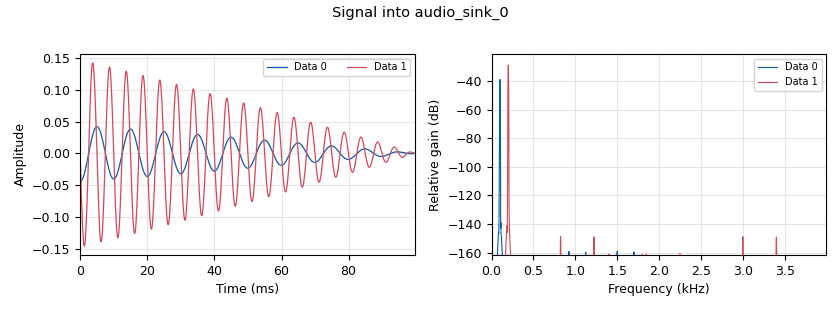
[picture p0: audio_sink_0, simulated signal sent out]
<?xml version='1.0' encoding='utf-8'?>
<flow_graph>
<block>
<key>options</key>
<param><key>id</key><value>top_block</value></param>
<param><key>generate_options</key><value>wx_gui</value></param>
<param><key>category</key><value>Custom</value></param>
</block>
<block>
<key>variable</key>
<param><key>id</key><value>samp_rate</value></param>
<param><key>value</key><value>8000</value></param>
</block>
<block>
<key>variable_slider</key>
<param><key>id</key><value>ampTwo</value></param>
<param><key>label</key><value>ampTwo</value></param>
<param><key>value</key><value>0.5</value></param>
<param><key>min</key><value>0</value></param>
<param><key>max</key><value>1</value></param>
<param><key>num_steps</key><value>100</value></param>
<param><key>style</key><value>wx.SL_HORIZONTAL</value></param>
<param><key>converver</key><value>float_converter</value></param>
</block>
<block>
<key>variable_slider</key>
<param><key>id</key><value>baseFrequency</value></param>
<param><key>label</key><value></value></param>
<param><key>value</key><value>100</value></param>
<param><key>min</key><value>0</value></param>
<param><key>max</key><value>1000</value></param>
<param><key>num_steps</key><value>100</value></param>
<param><key>style</key><value>wx.SL_HORIZONTAL</value></param>
<param><key>converver</key><value>float_converter</value></param>
</block>
<block>
<key>variable_slider</key>
<param><key>id</key><value>biasOne</value></param>
<param><key>label</key><value>biasOne</value></param>
<param><key>value</key><value>0</value></param>
<param><key>min</key><value>0</value></param>
<param><key>max</key><value>1</value></param>
<param><key>num_steps</key><value>100</value></param>
<param><key>style</key><value>wx.SL_HORIZONTAL</value></param>
<param><key>converver</key><value>float_converter</value></param>
</block>
<block>
<key>variable_slider</key>
<param><key>id</key><value>biasTwo</value></param>
<param><key>label</key><value>biasTwo</value></param>
<param><key>value</key><value>0</value></param>
<param><key>min</key><value>0</value></param>
<param><key>max</key><value>1</value></param>
<param><key>num_steps</key><value>100</value></param>
<param><key>style</key><value>wx.SL_HORIZONTAL</value></param>
<param><key>converver</key><value>float_converter</value></param>
</block>
<block>
<key>variable_slider</key>
<param><key>id</key><value>multiple</value></param>
<param><key>label</key><value>multiple</value></param>
<param><key>value</key><value>2</value></param>
<param><key>min</key><value>0</value></param>
<param><key>max</key><value>3</value></param>
<param><key>num_steps</key><value>50</value></param>
<param><key>style</key><value>wx.SL_HORIZONTAL</value></param>
<param><key>converver</key><value>float_converter</value></param>
</block>
<block>
<key>variable_slider</key>
<param><key>id</key><value>offset</value></param>
<param><key>label</key><value></value></param>
<param><key>value</key><value>0.0003</value></param>
<param><key>min</key><value>-0.001</value></param>
<param><key>max</key><value>0.001</value></param>
<param><key>num_steps</key><value>100</value></param>
<param><key>style</key><value>wx.SL_HORIZONTAL</value></param>
<param><key>converver</key><value>float_converter</value></param>
</block>
<block>
<key>variable_slider</key>
<param><key>id</key><value>ampOne</value></param>
<param><key>label</key><value>ampOne</value></param>
<param><key>value</key><value>0.15</value></param>
<param><key>min</key><value>0</value></param>
<param><key>max</key><value>1</value></param>
<param><key>num_steps</key><value>100</value></param>
<param><key>style</key><value>wx.SL_HORIZONTAL</value></param>
<param><key>converver</key><value>float_converter</value></param>
</block>
<block>
<key>blocks_multiply_xx</key>
<param><key>id</key><value>blocks_multiply_xx_1</value></param>
<param><key>type</key><value>float</value></param>
</block>
<block>
<key>blocks_multiply_xx</key>
<param><key>id</key><value>blocks_multiply_xx_0</value></param>
<param><key>type</key><value>float</value></param>
</block>
<block>
<key>analog_sig_source_x</key>
<param><key>id</key><value>analog_sig_source_x_1</value></param>
<param><key>type</key><value>float</value></param>
<param><key>samp_rate</key><value>samp_rate</value></param>
<param><key>waveform</key><value>analog.GR_SIN_WAVE</value></param>
<param><key>freq</key><value>baseFrequency*multiple+offset</value></param>
<param><key>amp</key><value>ampTwo</value></param>
<param><key>offset</key><value>0</value></param>
</block>
<block>
<key>blocks_throttle</key>
<param><key>id</key><value>blocks_throttle_0_0</value></param>
<param><key>type</key><value>float</value></param>
<param><key>samples_per_second</key><value>samp_rate</value></param>
</block>
<block>
<key>blocks_add_const_vxx</key>
<param><key>id</key><value>blocks_add_const_vxx_0</value></param>
<param><key>type</key><value>float</value></param>
<param><key>const</key><value>biasTwo</value></param>
</block>
<block>
<key>analog_sig_source_x</key>
<param><key>id</key><value>analog_sig_source_x_0</value></param>
<param><key>type</key><value>float</value></param>
<param><key>samp_rate</key><value>samp_rate</value></param>
<param><key>waveform</key><value>analog.GR_COS_WAVE</value></param>
<param><key>freq</key><value>baseFrequency</value></param>
<param><key>amp</key><value>ampOne</value></param>
<param><key>offset</key><value>0</value></param>
</block>
<block>
<key>blocks_add_const_vxx</key>
<param><key>id</key><value>blocks_add_const_vxx_0_0</value></param>
<param><key>type</key><value>float</value></param>
<param><key>const</key><value>biasOne</value></param>
</block>
<block>
<key>blocks_throttle</key>
<param><key>id</key><value>blocks_throttle_0</value></param>
<param><key>type</key><value>float</value></param>
<param><key>samples_per_second</key><value>samp_rate</value></param>
</block>
<block>
<key>audio_sink</key>
<param><key>id</key><value>audio_sink_0</value></param>
<param><key>samp_rate</key><value>samp_rate</value></param>
<param><key>device_name</key><value>default</value></param>
<param><key>num_inputs</key><value>2</value></param>
<param><key>affinity</key><value>1</value></param>
</block>
<block>
<key>analog_sig_source_x</key>
<param><key>id</key><value>analog_sig_source_x_2</value></param>
<param><key>type</key><value>float</value></param>
<param><key>samp_rate</key><value>samp_rate</value></param>
<param><key>waveform</key><value>analog.GR_SIN_WAVE</value></param>
<param><key>freq</key><value>1</value></param>
<param><key>amp</key><value>0.5</value></param>
<param><key>offset</key><value>0</value></param>
</block>
<connection><source_block_id>blocks_add_const_vxx_0</source_block_id><sink_block_id>blocks_multiply_xx_0</sink_block_id><source_key>0</source_key><sink_key>1</sink_key></connection>
<connection><source_block_id>blocks_add_const_vxx_0_0</source_block_id><sink_block_id>blocks_multiply_xx_1</sink_block_id><source_key>0</source_key><sink_key>0</sink_key></connection>
<connection><source_block_id>blocks_multiply_xx_0</source_block_id><sink_block_id>audio_sink_0</sink_block_id><source_key>0</source_key><sink_key>1</sink_key></connection>
<connection><source_block_id>blocks_multiply_xx_1</source_block_id><sink_block_id>audio_sink_0</sink_block_id><source_key>0</source_key><sink_key>0</sink_key></connection>
<connection><source_block_id>analog_sig_source_x_2</source_block_id><sink_block_id>blocks_multiply_xx_1</sink_block_id><source_key>0</source_key><sink_key>1</sink_key></connection>
<connection><source_block_id>analog_sig_source_x_2</source_block_id><sink_block_id>blocks_multiply_xx_0</sink_block_id><source_key>0</source_key><sink_key>0</sink_key></connection>
<connection><source_block_id>analog_sig_source_x_1</source_block_id><sink_block_id>blocks_throttle_0_0</sink_block_id><source_key>0</source_key><sink_key>0</sink_key></connection>
<connection><source_block_id>blocks_throttle_0_0</source_block_id><sink_block_id>blocks_add_const_vxx_0</sink_block_id><source_key>0</source_key><sink_key>0</sink_key></connection>
<connection><source_block_id>analog_sig_source_x_0</source_block_id><sink_block_id>blocks_throttle_0</sink_block_id><source_key>0</source_key><sink_key>0</sink_key></connection>
<connection><source_block_id>blocks_throttle_0</source_block_id><sink_block_id>blocks_add_const_vxx_0_0</sink_block_id><source_key>0</source_key><sink_key>0</sink_key></connection>
</flow_graph>
